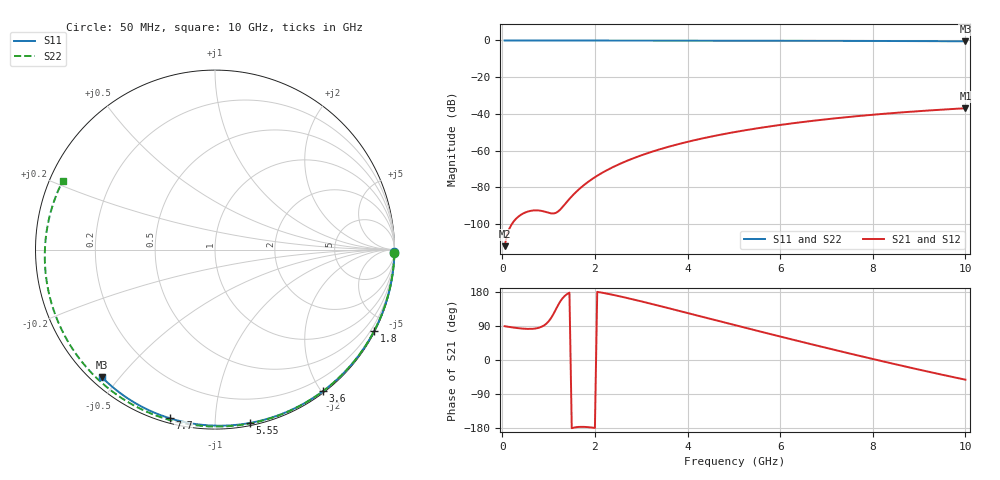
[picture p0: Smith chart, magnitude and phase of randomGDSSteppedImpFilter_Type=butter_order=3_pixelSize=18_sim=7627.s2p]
! freq	dB(S11)	phase(S11)	dB(S12)	phase(S12)
!  dB(S21)	phase(S21)	dB(S22)	phase(S22)
!S-par simulation data
#  GHz  S  DB  R 50
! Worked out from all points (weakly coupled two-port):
!   200 points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, 50 MHz to 10 GHz, reference 50 ohm
!   highest |S21| = -36.94 dB at 10 GHz (marker M1); lowest = -112.1 dB at 50 MHz (marker M2)
!   lowest |S11| = -0.4 dB at 10 GHz (marker M3), VSWR 39.00, Z = 1.54 - j22.5 ohm
!   |S11| at or under -10 dB: nowhere
!   |S22| runs from -0.6 to 0.0 dB; largest |S21 - S12| = 0
!   S11 on the Smith chart (normalised r, x): 50 MHz: open; 1.8 GHz: 0.04, -4.17; 3.6 GHz: 0.02, -2.02; 5.55 GHz: 0.02, -1.22; 7.7 GHz: 0.02, -0.77; 10 GHz: 0.03, -0.45
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0.05  -0.00 -0.8  -112.07 89.2  -112.07 89.2  -0.00 -1.2
0.45  -0.01 -6.8  -94.27 82.7  -94.27 82.7  -0.01 -10.7
0.85  -0.02 -12.8  -92.86 87.8  -92.86 87.8  -0.03 -20.1
1.25  -0.02 -18.8  -92.16 154.2  -92.16 154.2  -0.04 -29.4
1.7  -0.03 -25.5  -80.09 -176.3  -80.09 -176.3  -0.05 -39.7
1.75  -0.03 -26.2  -79.04 -176.4  -79.04 -176.4  -0.05 -40.8
1.8  -0.03 -26.9  -78.05 -176.7  -78.05 -176.7  -0.05 -42.0
2.1  -0.04 -31.3  -72.93 178.8  -72.93 178.8  -0.06 -48.7
2.5  -0.05 -37.1  -67.68 169.0  -67.68 169.0  -0.07 -57.5
2.9  -0.06 -42.8  -63.51 157.7  -63.51 157.7  -0.08 -66.2
3.4  -0.07 -49.9  -59.30 142.6  -59.30 142.6  -0.10 -76.7
3.6  -0.07 -52.7  -57.85 136.4  -57.85 136.4  -0.11 -80.9
4.3  -0.09 -62.3  -53.49 114.6  -53.49 114.6  -0.13 -95.0
5.05  -0.11 -72.2  -49.77 91.2  -49.77 91.2  -0.17 -109.6
5.55  -0.13 -78.7  -47.69 75.7  -47.69 75.7  -0.19 -119.1
6.15  -0.15 -86.3  -45.52 57.4  -45.52 57.4  -0.23 -130.3
6.7  -0.18 -93.1  -43.79 40.8  -43.79 40.8  -0.27 -140.4
7.2  -0.21 -99.1  -42.39 25.9  -42.39 25.9  -0.31 -149.6
7.7  -0.24 -105.1  -41.15 11.3  -41.15 11.3  -0.35 -158.9
8.35  -0.29 -112.7  -39.73 -7.3  -39.73 -7.3  -0.42 -171.1
9.2  -0.36 -122.4  -38.16 -30.9  -38.16 -30.9  -0.51 172.3
10  -0.45 -131.5  -36.94 -52.0  -36.94 -52.0  -0.62 155.7
